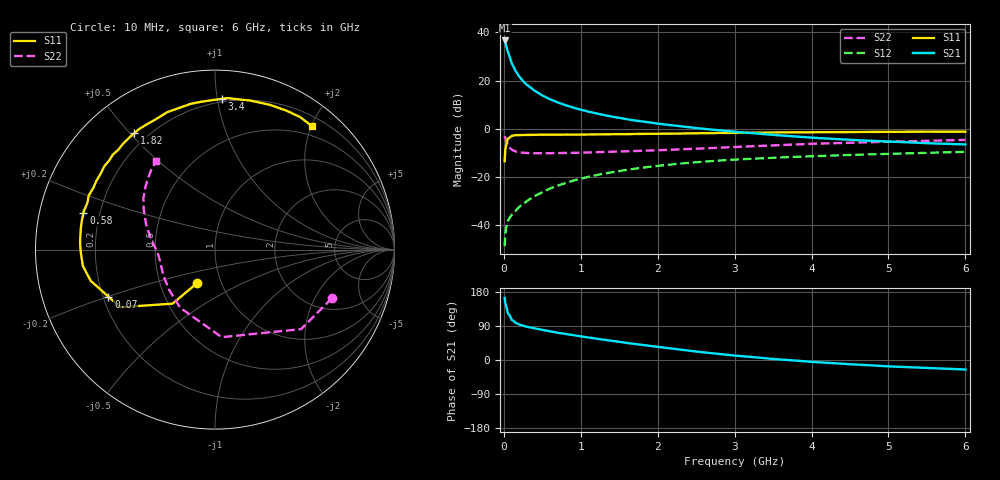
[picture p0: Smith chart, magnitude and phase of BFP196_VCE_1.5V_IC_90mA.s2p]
! Infineon Technologies  Discrete & RF Semiconductors
! BFP196
! VCE = 1.5 V,  IC =  90mA
! Common Emitter S-Parameters:  Jan 2016
# GHz  S  MA  R  50
!  f  S11  S21  S12  S22
! GHz  MAG  ANG  MAG  ANG  MAG  ANG  MAG  ANG
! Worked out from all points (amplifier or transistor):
!   210 points, 10 MHz to 6 GHz, reference 50 ohm
!   highest |S21| = 36.7 dB at 10 MHz (marker M1)
!   |S21| within 3 dB of that: start of sweep to 37.2 MHz
!   unconditionally stable (mu >= 1): 253.4 MHz to end of sweep
!   at 185 MHz: K = 0.90, MSG = 27.7 dB, |S12| = -32.8 dB
!   at 1.52 GHz: K = 1.12, MAG = 8.8 dB, |S12| = -17.4 dB
!   at 6 GHz: K = 1.03, MAG = 0.5 dB, |S12| = -9.5 dB
!   S11 on the Smith chart (normalised r, x): 10 MHz: 0.76, -0.30; 70 MHz: 0.22, -0.20; 580 MHz: 0.14, +0.13; 1.82 GHz: 0.15, +0.51; 3.4 GHz: 0.18, +1.03; 6 GHz: 0.34, +2.01
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0.01  0.2139 -118.4  68.29 164.0  0.0037 70.9  0.7057 -22.6
0.02  0.3826 -128.1  61.39 149.4  0.007 62.4  0.6529 -42.7
0.05  0.6181 -148.7  40.76 123.8  0.0123 50.6  0.4895 -85.6
0.07  0.6492 -156.2  33.49 119.0  0.0139 50.4  0.426 -97.5
0.1  0.7141 -165.9  23.36 106.4  0.0163 50.2  0.3778 -121.0
0.15  0.7421 -173.0  16.08 98.5  0.0198 54.6  0.3419 -138.0
0.2  0.7467 -177.6  12.2 93.6  0.0241 58.6  0.3269 -147.6
0.24  0.7499 179.5  10.24 91.0  0.0271 60.7  0.3211 -152.9
0.3  0.7532 176.3  8.172 87.6  0.032 62.9  0.3166 -158.4
0.4  0.7567 171.4  6.177 83.3  0.0404 65.8  0.3134 -164.4
0.5  0.7595 167.5  4.943 79.5  0.0487 66.7  0.313 -168.1
0.58  0.761 164.5  4.282 76.5  0.0559 66.5  0.3136 -170.3
0.8  0.7654 156.8  3.107 68.8  0.0753 65.0  0.3173 -174.5
1.02  0.7638 149.1  2.456 61.9  0.0948 62.9  0.3222 -177.7
1.34  0.7731 138.7  1.883 52.4  0.1212 58.3  0.3323 178.4
1.82  0.7895 124.8  1.415 39.4  0.1585 50.8  0.3502 173.2
2.02  0.7944 119.5  1.276 34.2  0.1727 47.7  0.3613 170.5
3.1  0.8294 93.2  0.848 10.0  0.2353 30.8  0.4276 155.8
3.4  0.841 87.4  0.773 4.7  0.2484 26.4  0.4488 151.8
4.1  0.8541 75.1  0.644 -6.1  0.2747 17.5  0.4964 143.1
5.1  0.871 61.9  0.538 -17.6  0.3074 6.2  0.5471 132.7
6  0.8745 51.9  0.477 -25.1  0.3345 -3.9  0.5912 123.7
